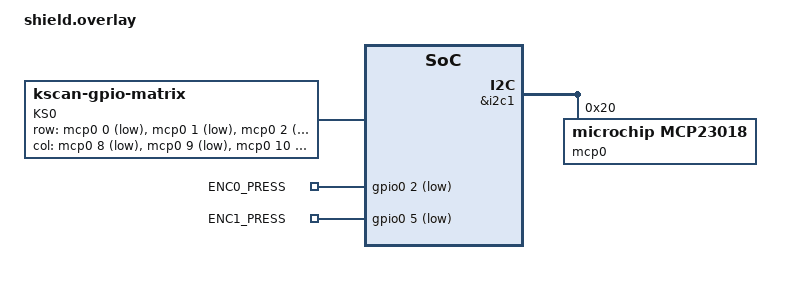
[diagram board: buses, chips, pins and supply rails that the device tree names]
/ {
    &i2c1 {
        status = "okay";

        mcp0: mcp23018@20 {
            compatible = "microchip,mcp23018";
            reg = <0x20>;
            gpio-controller;
            #gpio-cells = <2>;
        };
    };

    kscan0: kscan@20 {
        compatible = "zmk,kscan-gpio-matrix";
        label = "KS0";
        row-gpios = <&mcp0 0 GPIO_ACTIVE_LOW>, <&mcp0 1 GPIO_ACTIVE_LOW>, <&mcp0 2 GPIO_ACTIVE_LOW>, <&mcp0 3 GPIO_ACTIVE_LOW>, <&mcp0 4 GPIO_ACTIVE_LOW>;
        col-gpios = <&mcp0 8 GPIO_ACTIVE_LOW>, <&mcp0 9 GPIO_ACTIVE_LOW>, <&mcp0 10 GPIO_ACTIVE_LOW>, <&mcp0 11 GPIO_ACTIVE_LOW>, <&mcp0 12 GPIO_ACTIVE_LOW>, <&mcp0 13 GPIO_ACTIVE_LOW>, <&mcp0 14 GPIO_ACTIVE_LOW>, <&mcp0 15 GPIO_ACTIVE_LOW>;
        debounce-period-ms = <5>;
        scan-period-ms = <1>;
    };

    encoder0: encoder0 {
        compatible = "zmk,behavior-encoder";
        label = "ENC0";
        a-gpios = <&gpio0 0 GPIO_ACTIVE_HIGH>;
        b-gpios = <&gpio0 1 GPIO_ACTIVE_HIGH>;
    };

    encoder1: encoder1 {
        compatible = "zmk,behavior-encoder";
        label = "ENC1";
        a-gpios = <&gpio0 3 GPIO_ACTIVE_HIGH>;
        b-gpios = <&gpio0 4 GPIO_ACTIVE_HIGH>;
    };

    gpio_keys {
        compatible = "gpio-keys";
        encoder0_press: encoder0_press {
            gpios = <&gpio0 2 GPIO_ACTIVE_LOW>;
            label = "ENC0_PRESS";
        };
        encoder1_press: encoder1_press {
            gpios = <&gpio0 5 GPIO_ACTIVE_LOW>;
            label = "ENC1_PRESS";
        };
    };
};
